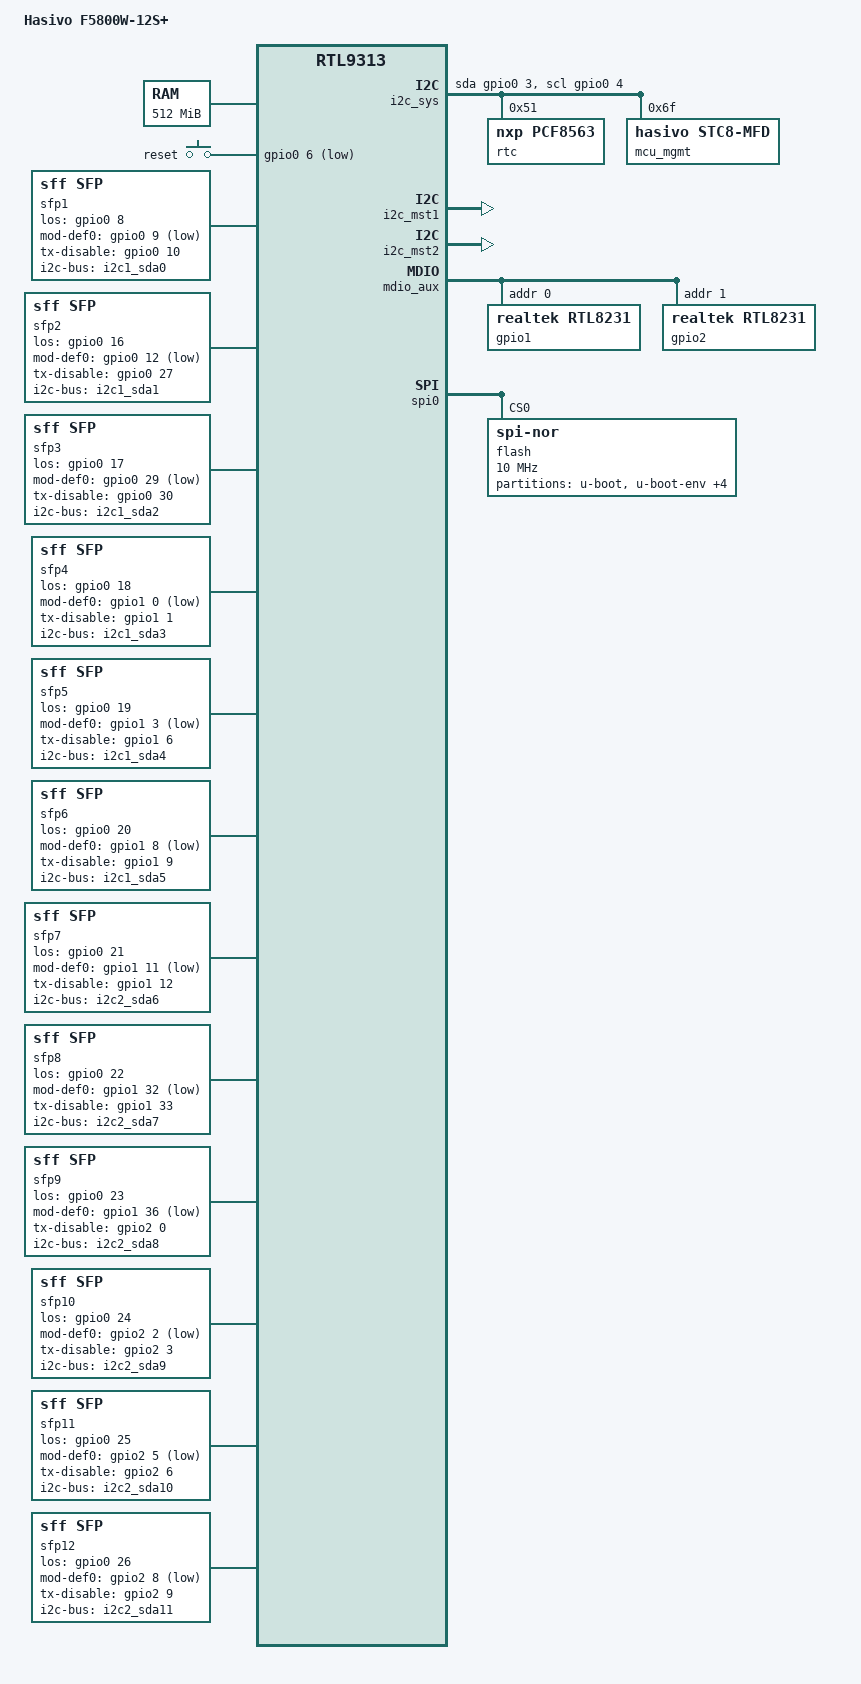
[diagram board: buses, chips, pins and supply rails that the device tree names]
// SPDX-License-Identifier: GPL-2.0-or-later
/dts-v1/;

#include "rtl931x.dtsi"

#include <dt-bindings/input/input.h>
#include <dt-bindings/gpio/gpio.h>
#include <dt-bindings/leds/common.h>
#include <dt-bindings/phy/phy.h>

/ {
	compatible = "hasivo,f5800w-12s-plus", "realtek,rtl9313-soc";
	model = "Hasivo F5800W-12S+";

	memory@0 {
		device_type = "memory";
		reg = <0x00000000 0x10000000>, /* 256 MiB lowmem */
		      <0x90000000 0x10000000>; /* 256 MiB highmem */
	};

	chosen {
		stdout-path = "serial0:38400n8";
	};

	keys {
		compatible = "gpio-keys";

		button-reset {
			label = "reset";
			gpios = <&gpio0 6 GPIO_ACTIVE_LOW>;
			linux,code = <KEY_RESTART>;
		};
	};

	led_set {
		compatible = "realtek,rtl9300-leds";
		active-low;

		led_set1 = <
		( // Green lower row - 2.5G/1G link
			RTL93XX_LED_SET_2P5G |
			RTL93XX_LED_SET_1G |
			RTL93XX_LED_SET_LINK |
			RTL93XX_LED_SET_ACT
		)
		( // Green upper row - 10G link
			RTL93XX_LED_SET_10G |
			RTL93XX_LED_SET_LINK |
			RTL93XX_LED_SET_ACT
		)>;
	};

	i2c_sys: i2c-system {
		compatible = "i2c-gpio";
		#address-cells = <1>;
		#size-cells = <0>;

		pinctrl-names = "default";
		pinctrl-0 = <&pinmux_disable_jtag>;

		scl-gpios = <&gpio0 4 (GPIO_ACTIVE_HIGH | GPIO_OPEN_DRAIN)>;
		sda-gpios = <&gpio0 3 (GPIO_ACTIVE_HIGH | GPIO_OPEN_DRAIN)>;
		i2c-gpio,delay-us = <28>;

		rtc@51 {
			compatible = "nxp,pcf8563";
			reg = <0x51>;
		};

		mcu_mgmt: mcu@6f {
			compatible = "hasivo,stc8-mfd", "syscon";
			reg = <0x6f>;

			mcu_wdt: watchdog {
				compatible = "hasivo,mcu-wdt";
			};

			sensor {
				compatible = "hasivo,mcu-sensor";
			};
		};
	};

	sfp1: sfp-p1 {
		compatible = "sff,sfp";
		i2c-bus = <&i2c1_sda0>;
		los-gpios = <&gpio0 8 GPIO_ACTIVE_HIGH>;
		mod-def0-gpios = <&gpio0 9 GPIO_ACTIVE_LOW>;
		tx-disable-gpios = <&gpio0 10 GPIO_ACTIVE_HIGH>;
	};

	sfp2: sfp-p2 {
		compatible = "sff,sfp";
		i2c-bus = <&i2c1_sda1>;
		los-gpios = <&gpio0 16 GPIO_ACTIVE_HIGH>;
		mod-def0-gpios = <&gpio0 12 GPIO_ACTIVE_LOW>;
		tx-disable-gpios = <&gpio0 27 GPIO_ACTIVE_HIGH>;
	};

	sfp3: sfp-p3 {
		compatible = "sff,sfp";
		i2c-bus = <&i2c1_sda2>;
		los-gpios = <&gpio0 17 GPIO_ACTIVE_HIGH>;
		mod-def0-gpios = <&gpio0 29 GPIO_ACTIVE_LOW>;
		tx-disable-gpios = <&gpio0 30 GPIO_ACTIVE_HIGH>;
	};

	sfp4: sfp-p4 {
		compatible = "sff,sfp";
		i2c-bus = <&i2c1_sda3>;
		los-gpios = <&gpio0 18 GPIO_ACTIVE_HIGH>;
		mod-def0-gpios = <&gpio1 0 GPIO_ACTIVE_LOW>;
		tx-disable-gpios = <&gpio1 1 GPIO_ACTIVE_HIGH>;
	};

	sfp5: sfp-p5 {
		compatible = "sff,sfp";
		i2c-bus = <&i2c1_sda4>;
		los-gpios = <&gpio0 19 GPIO_ACTIVE_HIGH>;
		mod-def0-gpios = <&gpio1 3 GPIO_ACTIVE_LOW>;
		tx-disable-gpios = <&gpio1 6 GPIO_ACTIVE_HIGH>;
	};

	sfp6: sfp-p6 {
		compatible = "sff,sfp";
		i2c-bus = <&i2c1_sda5>;
		los-gpios = <&gpio0 20 GPIO_ACTIVE_HIGH>;
		mod-def0-gpios = <&gpio1 8 GPIO_ACTIVE_LOW>;
		tx-disable-gpios = <&gpio1 9 GPIO_ACTIVE_HIGH>;
	};

	sfp7: sfp-p7 {
		compatible = "sff,sfp";
		i2c-bus = <&i2c2_sda6>;
		los-gpios = <&gpio0 21 GPIO_ACTIVE_HIGH>;
		mod-def0-gpios = <&gpio1 11 GPIO_ACTIVE_LOW>;
		tx-disable-gpios = <&gpio1 12 GPIO_ACTIVE_HIGH>;
	};

	sfp8: sfp-p8 {
		compatible = "sff,sfp";
		i2c-bus = <&i2c2_sda7>;
		los-gpios = <&gpio0 22 GPIO_ACTIVE_HIGH>;
		mod-def0-gpios = <&gpio1 32 GPIO_ACTIVE_LOW>;
		tx-disable-gpios = <&gpio1 33 GPIO_ACTIVE_HIGH>;
	};

	sfp9: sfp-p9 {
		compatible = "sff,sfp";
		i2c-bus = <&i2c2_sda8>;
		los-gpios = <&gpio0 23 GPIO_ACTIVE_HIGH>;
		mod-def0-gpios = <&gpio1 36 GPIO_ACTIVE_LOW>;
		tx-disable-gpios = <&gpio2 0 GPIO_ACTIVE_HIGH>;
	};

	sfp10: sfp-p10 {
		compatible = "sff,sfp";
		i2c-bus = <&i2c2_sda9>;
		los-gpios = <&gpio0 24 GPIO_ACTIVE_HIGH>;
		mod-def0-gpios = <&gpio2 2 GPIO_ACTIVE_LOW>;
		tx-disable-gpios = <&gpio2 3 GPIO_ACTIVE_HIGH>;
	};

	sfp11: sfp-p11 {
		compatible = "sff,sfp";
		i2c-bus = <&i2c2_sda10>;
		los-gpios = <&gpio0 25 GPIO_ACTIVE_HIGH>;
		mod-def0-gpios = <&gpio2 5 GPIO_ACTIVE_LOW>;
		tx-disable-gpios = <&gpio2 6 GPIO_ACTIVE_HIGH>;
	};

	sfp12: sfp-p12 {
		compatible = "sff,sfp";
		i2c-bus = <&i2c2_sda11>;
		los-gpios = <&gpio0 26 GPIO_ACTIVE_HIGH>;
		mod-def0-gpios = <&gpio2 8 GPIO_ACTIVE_LOW>;
		tx-disable-gpios = <&gpio2 9 GPIO_ACTIVE_HIGH>;
	};
};

&i2c_mst1 {
	status = "okay";

	i2c1_sda0: i2c@0 { reg = <0>; };
	i2c1_sda1: i2c@1 { reg = <1>; };
	i2c1_sda2: i2c@2 { reg = <2>; };
	i2c1_sda3: i2c@3 { reg = <3>; };
	i2c1_sda4: i2c@4 { reg = <4>; };
	i2c1_sda5: i2c@5 { reg = <5>; };
};

&i2c_mst2 {
	status = "okay";

	i2c2_sda6: i2c@6 { reg = <6>; };
	i2c2_sda7: i2c@7 { reg = <7>; };
	i2c2_sda8: i2c@8 { reg = <8>; };
	i2c2_sda9: i2c@9 { reg = <9>; };
	i2c2_sda10: i2c@a { reg = <10>; };
	i2c2_sda11: i2c@b { reg = <11>; };
};

&mdio_aux {
	status = "okay";

	gpio1: gpio@0 {
		compatible = "realtek,rtl8231";
		reg = <0>;

		gpio-controller;
		#gpio-cells = <2>;
		gpio-ranges = <&gpio1 0 0 37>;

		led-controller {
			compatible = "realtek,rtl8231-leds";
			status = "disabled";
		};
	};

	gpio2: gpio@1 {
		compatible = "realtek,rtl8231";
		reg = <1>;

		gpio-controller;
		#gpio-cells = <2>;
		gpio-ranges = <&gpio2 0 0 37>;

		led-controller {
			compatible = "realtek,rtl8231-leds";
			status = "disabled";
		};
	};
};

&spi0 {
	status = "okay";

	flash@0 {
		compatible = "jedec,spi-nor";
		reg = <0>;
		spi-max-frequency = <10000000>;

		partitions {
			compatible = "fixed-partitions";
			#address-cells = <1>;
			#size-cells = <1>;

			/* stock is LOADER */
			partition@0 {
				label = "u-boot";
				reg = <0x0000000 0x00e0000>;
				read-only;
			};

			/* stock is BDINFO */
			partition@e0000 {
				label = "u-boot-env";
				reg = <0x00e0000 0x0010000>;
			};

			/* stock is SYSINFO */
			partition@f0000 {
				label = "u-boot-env2";
				reg = <0x00f0000 0x0010000>;
			};

			/* stock is CFG JFFS2 */
			partition@100000 {
				label = "jffs";
				reg = <0x0100000 0x0100000>;
			};

			/* stock is LOG JFFS2 */
			partition@200000 {
				label = "jffs2";
				reg = <0x0200000 0x0100000>;
			};

			/* stock is RUNTIME and RUNTIME2
			 * RUNTIME is <0x0300000 0x0700000>
			 * RUNTIME2 is <0x0a00000 0x1600000>
			 */
			partition@300000 {
				compatible = "openwrt,uimage", "denx,uimage";
				label = "firmware";
				reg = <0x0300000 0x1d00000>;
			};
		};
	};
};

&switch0 {
	ethernet-ports {
		#address-cells = <1>;
		#size-cells = <0>;

		SWITCH_PORT_SFP(0, 1, 2, 1, 1)
		SWITCH_PORT_SFP(8, 2, 3, 1, 2)
		SWITCH_PORT_SFP(16, 3, 4, 1, 3)
		SWITCH_PORT_SFP(24, 4, 5, 1, 4)
		SWITCH_PORT_SFP(32, 5, 6, 1, 5)
		SWITCH_PORT_SFP(40, 6, 7, 1, 6)
		SWITCH_PORT_SFP(48, 7, 8, 1, 7)
		SWITCH_PORT_SFP(50, 8, 9, 1, 8)
		SWITCH_PORT_SFP(52, 9, 10, 1, 9)
		SWITCH_PORT_SFP(53, 10, 11, 1, 10)
		SWITCH_PORT_SFP(54, 11, 12, 1, 11)
		SWITCH_PORT_SFP(55, 12, 13, 1, 12)

		/* CPU port */
		port@56 {
			ethernet = <&ethernet0>;
			reg = <56>;
			phy-mode = "internal";
			fixed-link {
				speed = <1000>;
				full-duplex;
			};
		};
	};
};

&serdes2 { tx-polarity = <PHY_POL_INVERT>; };
&serdes3 { tx-polarity = <PHY_POL_INVERT>; };
&serdes4 { tx-polarity = <PHY_POL_INVERT>; };
&serdes5 { tx-polarity = <PHY_POL_INVERT>; };
&serdes6 { tx-polarity = <PHY_POL_INVERT>; };
&serdes7 { tx-polarity = <PHY_POL_INVERT>; };
&serdes8 { tx-polarity = <PHY_POL_INVERT>; };
&serdes9 { tx-polarity = <PHY_POL_INVERT>; };
&serdes10 { tx-polarity = <PHY_POL_INVERT>; };
&serdes11 { tx-polarity = <PHY_POL_INVERT>; };
&serdes12 { tx-polarity = <PHY_POL_INVERT>; };
&serdes13 { tx-polarity = <PHY_POL_INVERT>; };
